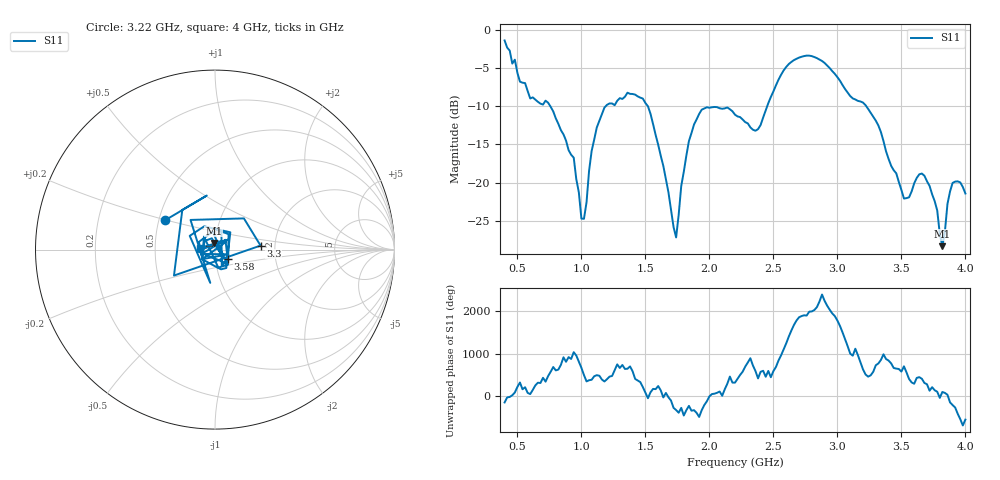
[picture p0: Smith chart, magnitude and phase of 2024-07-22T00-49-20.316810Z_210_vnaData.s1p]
!Created with skrf (http://scikit-rf.org).
# Hz S RI R 50.0
!freq ReS11 ImS11
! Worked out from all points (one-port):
!   181 points, 400 MHz to 4 GHz, reference 50 ohm
!   lowest |S11| = -28.4 dB at 3.82 GHz (marker M1), VSWR 1.08, Z = 49.2 + j3.71 ohm
!   |S11| at or under -10 dB: 757.8 MHz to 1.189 GHz (430.9 MHz wide, 44.3 % of centre); 1.52 GHz to 2.451 GHz (931.2 MHz wide, 46.9 % of centre); 3.227 GHz to end of sweep
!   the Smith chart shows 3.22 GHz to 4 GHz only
!   S11 on the Smith chart (normalised r, x): 3.22 GHz: 0.54, +0.20; 3.3 GHz: 1.68, +0.08; 3.58 GHz: 1.14, -0.12; 4 GHz: 0.84, +0.02
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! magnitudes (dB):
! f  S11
! 400 MHz  -1.3
! 600 MHz  -9.0
! 740 MHz  -9.5
! 860 MHz  -13.7
! 940 MHz  -16.7
! 1 GHz  -24.7
! 1.02 GHz  -24.8
! 1.12 GHz  -12.8
! 1.3 GHz  -8.9
! 1.52 GHz  -10.0
! 1.74 GHz  -27.2
! 1.76 GHz  -24.2
! 1.84 GHz  -14.6
! 1.92 GHz  -11.0
! 2.2 GHz  -11.1
! 2.38 GHz  -13.0
! 2.66 GHz  -3.9
! 2.88 GHz  -4.0
! 3.1 GHz  -8.6
! 3.22 GHz  -9.8
! 3.3 GHz  -11.9
! 3.56 GHz  -21.9
! 3.58 GHz  -21.2
! 3.68 GHz  -19.1
! 3.78 GHz  -23.7
! 3.82 GHz  -28.4
! 3.9 GHz  -20.1
! 4 GHz  -21.4
